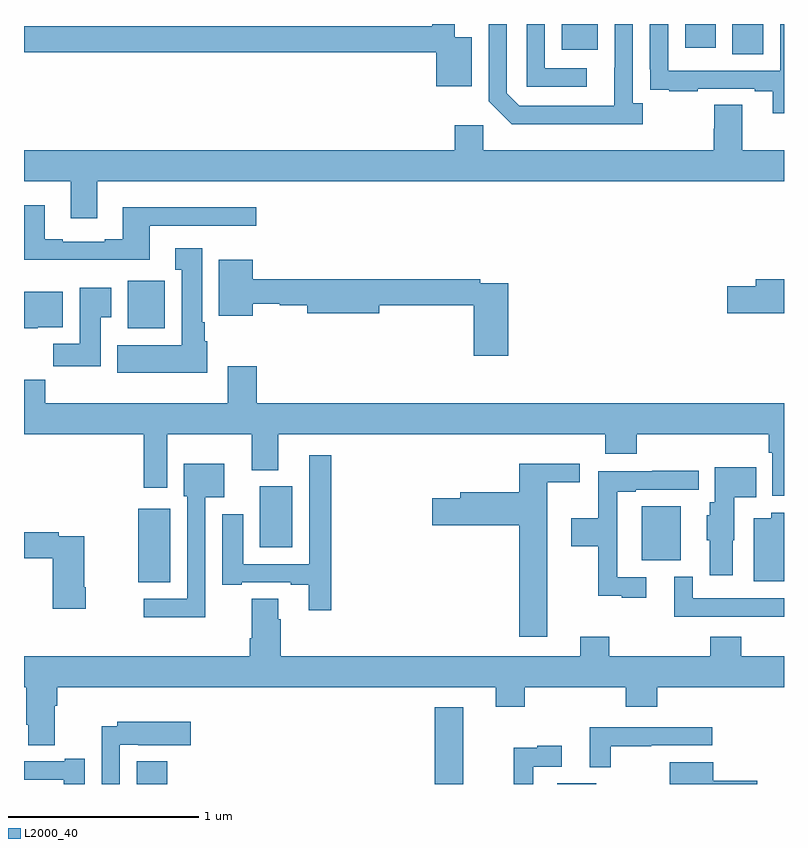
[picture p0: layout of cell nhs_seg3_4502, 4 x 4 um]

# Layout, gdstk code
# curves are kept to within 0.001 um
import gdstk
lib = gdstk.Library(unit=1e-6, precision=1e-09)
def R(c, l, rs):  # rectangles x0, y0, x1, y1
    for r in rs: c.add(gdstk.rectangle(r[:2], r[2:], *l))
def P(c, l, *ps):  # polygons
    for p in ps: c.add(gdstk.Polygon(p, *l))
L2000_40 = (2000, 40)

nhs_seg3_4502 = lib.new_cell('nhs_seg3_4502')
R(nhs_seg3_4502, L2000_40, [(351.593,708.4,351.755,708.52), (353.162,708.4,353.311,708.805), (353.807,708.4,354.013,708.403), (351.602,709.463,351.769,709.849), (354.251,709.577,354.457,709.861), (352.241,709.646,352.411,709.966), (351.545,710.798,351.741,711.049), (354.728,712.24,354.892,712.4), (353.831,712.265,354.019,712.4), (354.479,712.275,354.64,712.4)])
P(nhs_seg3_4502, L2000_40, [(355,712.4),(354.981,712.4),(354.981,712.155),(354.39,712.155),(354.39,712.4),(354.294,712.4),(354.294,712.162),(354.295,712.162),(354.295,712.053),(354.397,712.053),(354.397,712.047),(354.545,712.047),(354.545,712.059),(354.845,712.059),(354.845,712.047),(354.941,712.047),(354.941,711.93),(355,711.93)],
  [(354.256,711.982),(354.204,711.982),(354.204,712.4),(354.108,712.4),(354.107,711.969),(353.607,711.969),(353.541,712.035),(353.541,712.4),(353.445,712.4),(353.445,711.993),(353.566,711.872),(354.256,711.872)],
  [(353.356,712.33),(353.267,712.33),(353.267,712.4),(353.149,712.4),(353.149,712.388),(351,712.388),(351,712.252),(353.169,712.252),(353.169,712.073),(353.356,712.073)],
  [(353.962,712.167),(353.742,712.167),(353.742,712.4),(353.646,712.4),(353.646,712.071),(353.962,712.071)],
  [(351.385,711.572),(355,711.572),(355,711.736),(354.781,711.736),(354.781,711.974),(354.634,711.974),(354.634,711.849),(354.629,711.849),(354.629,711.736),(353.418,711.736),(353.418,711.868),(353.267,711.868),(353.267,711.736),(351,711.736),(351,711.572),(351.245,711.572),(351.245,711.378),(351.385,711.378)],
  [(351.661,711.339),(352.222,711.339),(352.222,711.436),(351.521,711.436),(351.521,711.268),(351.425,711.268),(351.425,711.255),(351.205,711.255),(351.205,711.268),(351.109,711.268),(351.109,711.445),(351,711.445),(351,711.158),(351.661,711.158)],
  [(351.964,710.73),(351.952,710.73),(351.952,710.83),(351.937,710.83),(351.937,711.22),(351.797,711.22),(351.797,711.107),(351.83,711.107),(351.83,710.71),(351.491,710.71),(351.491,710.564),(351.964,710.564)],
  [(353.549,711.036),(353.402,711.036),(353.402,711.056),(352.204,711.056),(352.204,711.16),(352.025,711.16),(352.025,710.864),(352.204,710.864),(352.204,710.928),(352.347,710.928),(352.347,710.92),(352.49,710.92),(352.49,710.878),(352.87,710.878),(352.87,710.92),(353.366,710.92),(353.366,710.655),(353.549,710.655)],
  [(355,711.056),(354.851,711.056),(354.851,711.02),(354.702,711.02),(354.702,710.878),(355,710.878)],
  [(351.403,710.857),(351.46,710.857),(351.46,711.013),(351.293,711.013),(351.293,710.716),(351.154,710.716),(351.154,710.598),(351.403,710.598)],
  [(351.072,710.804),(351.205,710.804),(351.205,710.992),(351,710.992),(351,710.798),(351.072,710.798)],
  [(355,710.404),(352.226,710.404),(352.226,710.599),(352.073,710.599),(352.073,710.404),(351.113,710.404),(351.113,710.528),(351,710.528),(351,710.24),(351.629,710.24),(351.629,709.959),(351.754,709.959),(351.754,710.24),(352.199,710.24),(352.199,710.051),(352.339,710.051),(352.339,710.24),(354.059,710.24),(354.059,710.138),(354.224,710.138),(354.224,710.24),(354.919,710.24),(354.919,710.144),(354.939,710.144),(354.939,709.917),(355,709.917)],
  [(352.616,710.131),(352.5,710.131),(352.5,709.557),(352.153,709.557),(352.153,709.819),(352.043,709.819),(352.043,709.449),(352.147,709.449),(352.147,709.461),(352.403,709.461),(352.403,709.449),(352.499,709.449),(352.499,709.314),(352.616,709.314)],
  [(351.954,709.91),(352.054,709.91),(352.054,710.086),(351.842,710.086),(351.842,709.914),(351.858,709.914),(351.858,709.374),(351.63,709.374),(351.63,709.277),(351.954,709.277)],
  [(353.755,709.988),(353.926,709.988),(353.926,710.086),(353.606,710.086),(353.606,709.935),(353.297,709.935),(353.297,709.905),(353.148,709.905),(353.148,709.763),(353.606,709.763),(353.606,709.176),(353.755,709.176)],
  [(354.73,709.683),(354.739,709.683),(354.739,709.91),(354.854,709.91),(354.854,710.068),(354.635,710.068),(354.635,709.884),(354.608,709.884),(354.608,709.815),(354.593,709.815),(354.593,709.683),(354.608,709.683),(354.608,709.5),(354.73,709.5)],
  [(354.274,709.488),(354.123,709.488),(354.123,709.938),(354.22,709.938),(354.22,709.95),(354.55,709.95),(354.55,710.048),(354.307,710.048),(354.307,710.046),(354.022,710.046),(354.022,709.798),(353.88,709.798),(353.88,709.651),(354.022,709.651),(354.022,709.391),(354.146,709.391),(354.146,709.38),(354.274,709.38)],
  [(355,709.828),(354.932,709.828),(354.932,709.798),(354.842,709.798),(354.842,709.466),(355,709.466)],
  [(351.324,709.435),(351.316,709.435),(351.316,709.704),(351.182,709.704),(351.182,709.724),(351,709.724),(351,709.588),(351.151,709.588),(351.151,709.323),(351.324,709.323)],
  [(355,709.377),(354.519,709.377),(354.519,709.492),(354.422,709.492),(354.422,709.281),(355,709.281)],
  [(351.163,708.812),(351.176,708.812),(351.176,708.908),(353.483,708.908),(353.483,708.806),(353.636,708.806),(353.636,708.908),(354.167,708.908),(354.167,708.806),(354.332,708.806),(354.332,708.908),(355,708.908),(355,709.072),(354.776,709.072),(354.776,709.174),(354.611,709.174),(354.611,709.072),(354.08,709.072),(354.08,709.174),(353.927,709.174),(353.927,709.072),(352.352,709.072),(352.352,709.268),(352.339,709.268),(352.339,709.376),(352.199,709.376),(352.199,709.168),(352.187,709.168),(352.187,709.072),(351,709.072),(351,708.908),(351.011,708.908),(351.011,708.712),(351.023,708.712),(351.023,708.604),(351.163,708.604)],
  [(351.504,708.606),(351.601,708.606),(351.601,708.605),(351.877,708.605),(351.877,708.727),(351.492,708.727),(351.492,708.704),(351.408,708.704),(351.408,708.4),(351.504,708.4)],
  [(354.088,708.598),(354.302,708.598),(354.302,708.603),(354.622,708.603),(354.622,708.699),(353.978,708.699),(353.978,708.488),(354.088,708.488)],
  [(353.679,708.492),(353.83,708.492),(353.83,708.601),(353.702,708.601),(353.702,708.59),(353.578,708.59),(353.578,708.4),(353.679,708.4)],
  [(351.319,708.532),(351.215,708.532),(351.215,708.519),(351,708.519),(351,708.423),(351.209,708.423),(351.209,708.4),(351.319,708.4)],
  [(354.859,708.416),(354.628,708.416),(354.628,708.514),(354.398,708.514),(354.398,708.4),(354.859,708.4)])

lib.write_gds('nhs_seg3_4502.gds')
